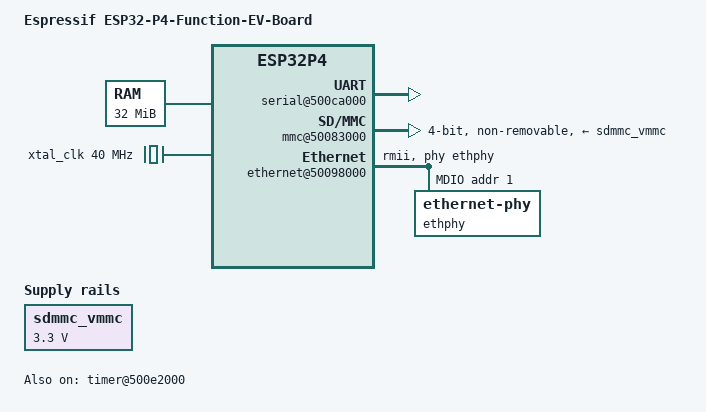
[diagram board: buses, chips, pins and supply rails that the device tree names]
# 0 "dts/esp32p4-function-ev.dts"
# 0 "<built-in>"
# 0 "<command-line>"
# 1 "dts/esp32p4-function-ev.dts"
# 57 "dts/esp32p4-function-ev.dts"
/dts-v1/;

# 1 "C:/Users/LENOVO/Projects/esp32-p4-linux/tools/dt-include/dt-bindings/interrupt-controller/irq.h" 1
# 60 "dts/esp32p4-function-ev.dts" 2
# 1 "C:/Users/LENOVO/Projects/esp32-p4-linux/tools/dt-include/dt-bindings/gpio/gpio.h" 1
# 61 "dts/esp32p4-function-ev.dts" 2

/ {
 #address-cells = <1>;
 #size-cells = <1>;
 model = "Espressif ESP32-P4-Function-EV-Board";
 compatible = "espressif,esp32p4-function-ev", "espressif,esp32p4";

 cpus {
  #address-cells = <1>;
  #size-cells = <0>;
  timebase-frequency = <16000000>;

  CPU0: cpu@0 {
   device_type = "cpu";
   compatible = "riscv";
   reg = <0>;
# 85 "dts/esp32p4-function-ev.dts"
   riscv,isa = "rv32imafc";
   mmu-type = "riscv,none";
   status = "okay";

   CPU0_intc: interrupt-controller {
    #interrupt-cells = <1>;
    compatible = "riscv,cpu-intc";
    interrupt-controller;
   };
  };
 };

 memory@48000000 {
  device_type = "memory";
  reg = <0x48000000 0x02000000>;
 };





 xtal_clk: xtal-clk {
  compatible = "fixed-clock";
  #clock-cells = <0>;
  clock-frequency = <40000000>;
  clock-output-names = "xtal";
 };

 aliases {
  serial0 = &uart0;
 };

 chosen {
  stdout-path = "serial0:4000000n8";






  bootargs = "earlycon console=ttyS0,4000000 root=/dev/mmcblk0p1 rootfstype=ext2 rootwait rw loglevel=8";
 };

 soc: soc {
  #address-cells = <1>;
  #size-cells = <1>;
  compatible = "simple-bus";
  ranges;
# 155 "dts/esp32p4-function-ev.dts"
  clic0: interrupt-controller@20801000 {
   compatible = "espressif,esp32p4-clic";
   reg = <0x20801000 0x3c0>,
         <0x500d6000 0x200>;
   interrupt-controller;
   #interrupt-cells = <3>;
  };
# 174 "dts/esp32p4-function-ev.dts"
  systimer: timer@500e2000 {
   compatible = "espressif,esp32p4-systimer";
   reg = <0x500e2000 0x100>;
   interrupts-extended = <&clic0 17 53 4>;
   status = "okay";
  };
# 208 "dts/esp32p4-function-ev.dts"
  uart0: serial@500ca000 {
   compatible = "esp,esp32p4-uart";
   reg = <0x500ca000 0x1000>;
   interrupts-extended = <&clic0 18 31 4>;
   clocks = <&xtal_clk>;
   status = "okay";
  };
# 255 "dts/esp32p4-function-ev.dts"
  wdt0: watchdog@500c2000 {
   compatible = "espressif,esp32p4-wdt";
   reg = <0x500c2000 0x100>;
   timeout-sec = <240>;
  };
 };
};

/ {
 reserved-memory {
  #address-cells = <1>;
  #size-cells = <1>;
  ranges;
# 325 "dts/esp32p4-function-ev.dts"
  app_pool: app-pool@49600000 {
   compatible = "linux,nommu-userspace-pool";
   reg = <0x49600000 0x00a00000>;
  };

 };







 sdmmc_vmmc: regulator-sdmmc-vmmc {
  compatible = "regulator-fixed";
  regulator-name = "sdmmc-vmmc";
  regulator-min-microvolt = <3300000>;
  regulator-max-microvolt = <3300000>;
  regulator-always-on;
  regulator-boot-on;
 };
# 357 "dts/esp32p4-function-ev.dts"
 sdmmc_biu_clk: sdmmc-biu-clk {
  compatible = "fixed-clock";
  #clock-cells = <0>;
  clock-frequency = <40000000>;
  clock-output-names = "sdmmc-biu";
 };

 sdmmc_ciu_clk: sdmmc-ciu-clk {
  compatible = "fixed-clock";
  #clock-cells = <0>;
  clock-frequency = <40000000>;
  clock-output-names = "sdmmc-ciu";
 };
};

&soc {
# 411 "dts/esp32p4-function-ev.dts"
 gpio0: gpio@500e0000 {
  compatible = "espressif,esp32p4-gpio";
  reg = <0x500e0000 0x1000>;
  espressif,bank-id = <0>;
  gpio-controller;
  #gpio-cells = <2>;
  interrupt-controller;
  #interrupt-cells = <2>;
  interrupts-extended = <&clic0 21 74 4>;
  status = "disabled";
 };

 gpio1: gpio-bank1@500e0000 {
  compatible = "espressif,esp32p4-gpio";
  reg = <0x500e0000 0x1000>;
  espressif,bank-id = <1>;
  gpio-controller;
  #gpio-cells = <2>;
  status = "disabled";
 };
# 457 "dts/esp32p4-function-ev.dts"
 sdmmc: mmc@50083000 {
  compatible = "snps,dw-mshc";
  reg = <0x50083000 0x1000>;
  dma-noncoherent;

  interrupts-extended = <&clic0 22 23 4>;

  clocks = <&sdmmc_biu_clk>, <&sdmmc_ciu_clk>;
  clock-names = "biu", "ciu";

  vmmc-supply = <&sdmmc_vmmc>;

  bus-width = <4>;
# 487 "dts/esp32p4-function-ev.dts"
  non-removable;
  disable-wp;
# 502 "dts/esp32p4-function-ev.dts"
  max-frequency = <25000000>;

  #address-cells = <1>;
  #size-cells = <0>;

  status = "okay";
 };
# 598 "dts/esp32p4-function-ev.dts"
 emac: ethernet@50098000 {
  compatible = "snps,dwmac-3.70a", "snps,dwmac";
  reg = <0x50098000 0x2000>;

  interrupts-extended = <&clic0 23 92 4>;
  interrupt-names = "macirq";

  clocks = <&emac_sys_clk>, <&emac_sys_clk>;
  clock-names = "stmmaceth", "pclk";

  phy-mode = "rmii";
  phy-handle = <&ethphy>;
  dma-noncoherent;
# 632 "dts/esp32p4-function-ev.dts"
  snps,clk-csr = <5>;




  snps,pbl = <8>;

  status = "okay";
# 668 "dts/esp32p4-function-ev.dts"
  mdio {
   compatible = "snps,dwmac-mdio";
   #address-cells = <1>;
   #size-cells = <0>;

   ethphy: ethernet-phy@1 {
    reg = <1>;
   };
  };
 };
};

/ {







 emac_sys_clk: emac-sys-clk {
  compatible = "fixed-clock";
  #clock-cells = <0>;
  clock-frequency = <180000000>;
  clock-output-names = "emac_sys_clk";
 };
};
